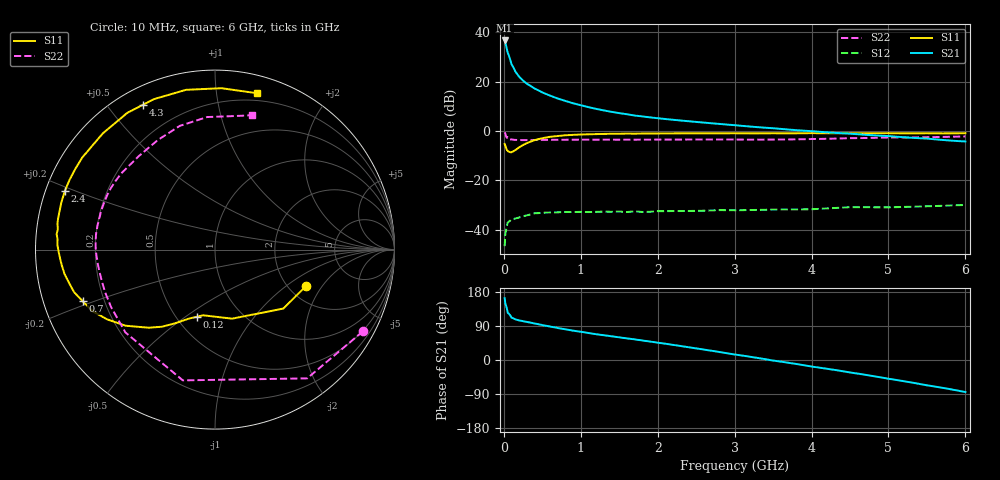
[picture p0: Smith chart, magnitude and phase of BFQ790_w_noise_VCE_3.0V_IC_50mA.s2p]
! Infineon Technologies  Discrete & RF Semiconductors
! BFQ790
! VCE =  3.0 V,  IC =  50 mA
! Common Emitter S-Parameters:  May 2015
# GHz  S  MA  R  50
!  f  S11  S21  S12  S22
! GHz  MAG  ANG  MAG  ANG  MAG  ANG  MAG  ANG
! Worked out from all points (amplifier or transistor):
!   77 points, 10 MHz to 6 GHz, reference 50 ohm
!   highest |S21| = 36.6 dB at 10 MHz (marker M1)
!   |S21| within 3 dB of that: start of sweep to 35.83 MHz
!   unconditionally stable (mu >= 1): 1.526 GHz to end of sweep
!   at 130 MHz: K = 0.68, MSG = 30.4 dB, |S12| = -35.5 dB
!   at 2.2 GHz: K = 1.14, MAG = 16.2 dB, |S12| = -32.4 dB
!   at 6 GHz: K = 1.59, MAG = 8.3 dB, |S12| = -29.9 dB
!   lowest NFmin = 2.29 dB at 900 MHz
!   S11 on the Smith chart (normalised r, x): 10 MHz: 2.48, -1.43; 120 MHz: 0.63, -0.55; 700 MHz: 0.12, -0.18; 2.4 GHz: 0.06, +0.19; 4.3 GHz: 0.07, +0.62; 6 GHz: 0.14, +1.30
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0.01  0.5468 -21.7  67.66 163.2  0.0047 71.7  0.9411 -29.0
0.02  0.5028 -40.8  60.53 148.7  0.0083 53.8  0.8823 -54.4
0.05  0.3963 -76.1  38.61 124.7  0.0141 35.9  0.7503 -103.8
0.1  0.372 -100.3  22.34 111.6  0.0163 23.7  0.6799 -137.2
0.12  0.3865 -104.8  19.73 110.2  0.0166 22.0  0.6678 -142.7
0.15  0.4122 -110.9  15.85 107.2  0.017 19.6  0.6616 -151.2
0.2  0.4677 -118.5  12.48 104.4  0.0179 21.0  0.6567 -158.7
0.25  0.5213 -124.5  10.44 102.5  0.0189 17.8  0.6547 -163.7
0.3  0.5707 -130.3  9.008 100.4  0.0197 13.3  0.6546 -167.3
0.4  0.6553 -139.7  7.22 96.3  0.0217 11.5  0.6574 -172.4
0.5  0.7156 -147.1  6.031 92.2  0.0222 8.1  0.6598 -176.0
0.7  0.7917 -158.8  4.537 84.5  0.0227 5.9  0.6651 178.6
0.9  0.8353 -167.5  3.635 77.4  0.023 0.3  0.6669 174.8
1.1  0.8582 -174.2  3.035 71.2  0.023 -1.8  0.6682 171.7
1.5  0.8794 176.2  2.297 59.8  0.0236 -6.2  0.6668 166.4
2.1  0.8931 165.0  1.746 42.9  0.024 -11.1  0.6703 158.4
2.4  0.8979 158.8  1.577 33.7  0.0242 -15.1  0.6728 153.4
3.1  0.8973 143.0  1.269 11.7  0.0251 -22.9  0.6706 138.6
4.1  0.9026 120.6  0.965 -20.1  0.0267 -32.0  0.6917 115.3
4.3  0.9012 116.3  0.919 -26.2  0.0278 -34.1  0.7018 110.5
5.1  0.9003 97.8  0.768 -52.6  0.0289 -45.8  0.7397 91.2
6  0.9025 74.8  0.614 -84.6  0.032 -61.1  0.7767 74.5
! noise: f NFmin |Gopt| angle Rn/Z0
0.45  2.98  0.32  115  0.35
0.9  2.29  0.47  157  0.14
1.5  2.29  0.63  -179  0.07
1.8  2.5  0.66  -173  0.07
2.6  3.16  0.72  -155  0.19
3.5  3.95  0.82  -137  0.51
